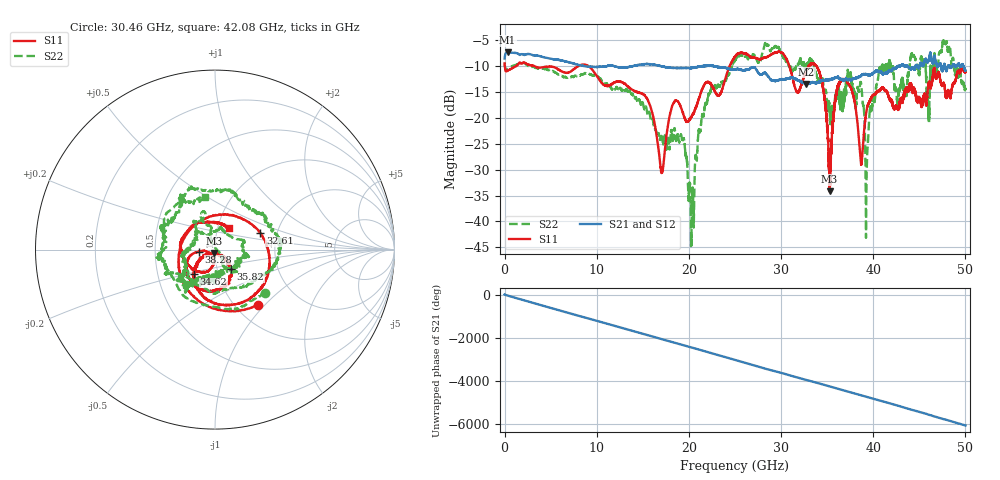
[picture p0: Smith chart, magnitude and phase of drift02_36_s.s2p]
!Created with skrf (http://scikit-rf.org).
# Hz S RI R 50.0
!freq ReS11 ImS11 ReS21 ImS21 ReS12 ImS12 ReS22 ImS22
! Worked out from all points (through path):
!   10001 points, 300 kHz to 50 GHz, reference 50 ohm
!   highest |S21| = -7.31 dB at 325.3 MHz (marker M1); lowest = -13.4 dB at 32.74 GHz (marker M2)
!   group delay of S21, straight-line fit = 335 ps
!   lowest |S11| = -34.2 dB at 35.26 GHz (marker M3), VSWR 1.04, Z = 49.4 - j1.86 ohm
!   |S11| at or under -10 dB: 3.233 GHz to 8.004 GHz (4.771 GHz wide, 84.9 % of centre); 9.104 GHz to 24.41 GHz (15.31 GHz wide, 91.4 % of centre); 33.83 GHz to end of sweep (the widest 3 of 8)
!   |S22| runs from -44.8 to -5.0 dB; largest |S21 - S12| = 0.013
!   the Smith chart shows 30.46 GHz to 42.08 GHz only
!   S11 on the Smith chart (normalised r, x): 30.46 GHz: 1.26, -0.91; 32.61 GHz: 1.64, +0.32; 34.62 GHz: 0.76, -0.22; 35.82 GHz: 1.16, -0.26; 38.28 GHz: 0.84, -0.02; 42.08 GHz: 1.13, +0.27
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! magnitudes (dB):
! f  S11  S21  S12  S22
! 300 kHz  -9.5  -8.5  -8.4  -9.4
! 325.3 MHz  -10.9  -7.3  -7.3  -10.6
! 8.335 GHz  -9.7  -9.9  -9.9  -11.6
! 16.67 GHz  -25.7  -9.9  -9.9  -23.0
! 19.31 GHz  -18.8  -10.4  -10.4  -24.4
! 20.35 GHz  -19.5  -10.3  -10.3  -34.1
! 21.93 GHz  -13.1  -9.9  -10.0  -17.2
! 25 GHz  -8.1  -10.6  -10.6  -9.0
! 30.46 GHz  -8.2  -12.5  -12.4  -8.7
! 32.61 GHz  -11.4  -13.2  -13.3  -10.2
! 32.74 GHz  -10.9  -13.4  -13.5  -10.0
! 33.34 GHz  -9.6  -13.1  -13.2  -8.9
! 34.62 GHz  -14.9  -12.7  -12.7  -14.0
! 35.26 GHz  -34.2  -12.6  -12.6  -18.3
! 35.82 GHz  -17.0  -12.3  -12.4  -16.7
! 38.28 GHz  -20.9  -12.3  -12.1  -14.3
! 39.31 GHz  -18.2  -11.6  -11.6  -28.6
! 41.67 GHz  -16.0  -11.0  -11.1  -9.6
! 42.08 GHz  -17.1  -10.7  -10.7  -10.5
! 45.96 GHz  -14.0  -9.1  -9.2  -17.1
! 47.77 GHz  -14.4  -9.8  -9.8  -5.5
! 50 GHz  -11.1  -10.8  -10.8  -14.3
